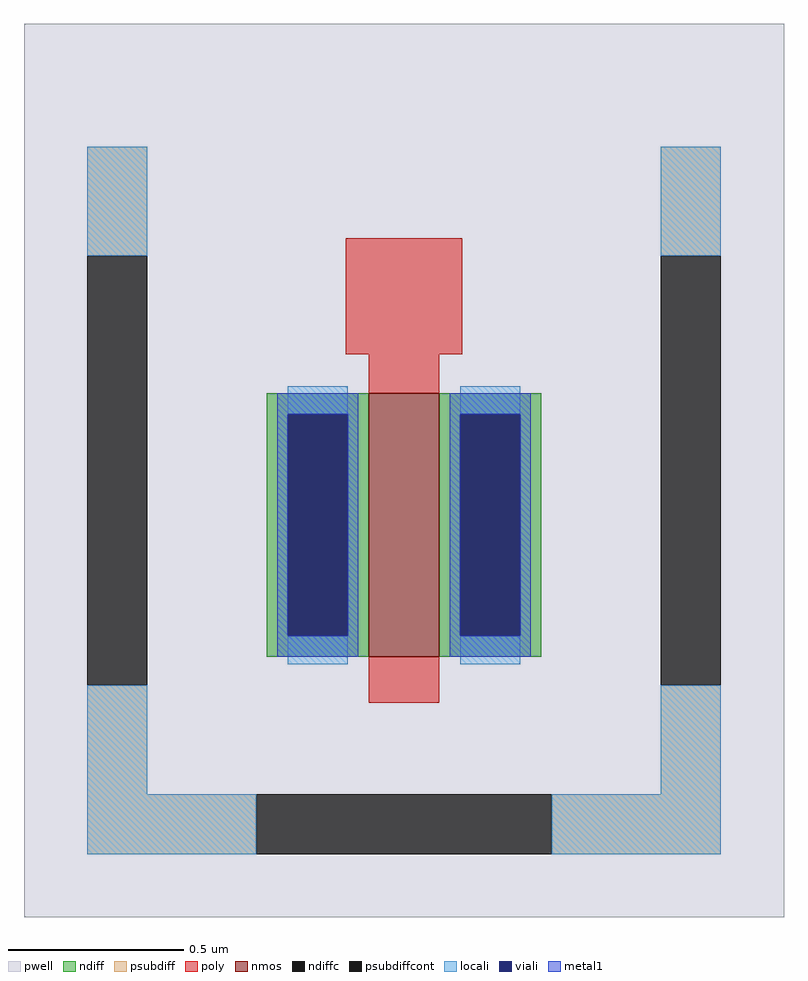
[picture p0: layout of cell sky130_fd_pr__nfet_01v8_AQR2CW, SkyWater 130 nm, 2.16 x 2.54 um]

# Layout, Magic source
magic
tech sky130A
magscale 1 2
<< pwell >>
rect -216 -254 216 254
<< nmos >>
rect -20 -106 20 44
<< ndiff >>
rect -78 32 -20 44
rect -78 -94 -66 32
rect -32 -94 -20 32
rect -78 -106 -20 -94
rect 20 32 78 44
rect 20 -94 32 32
rect 66 -94 78 32
rect 20 -106 78 -94
<< ndiffc >>
rect -66 -94 -32 32
rect 32 -94 66 32
<< psubdiff >>
rect -180 122 -146 184
rect 146 122 180 184
rect -180 -184 -146 -122
rect 146 -184 180 -122
rect -180 -218 -84 -184
rect 84 -218 180 -184
<< psubdiffcont >>
rect -180 -122 -146 122
rect 146 -122 180 122
rect -84 -218 84 -184
<< poly >>
rect -33 66 33 132
rect -20 44 20 66
rect -20 -132 20 -106
<< locali >>
rect -180 122 -146 184
rect 146 122 180 184
rect -66 32 -32 48
rect -66 -110 -32 -94
rect 32 32 66 48
rect 32 -110 66 -94
rect -180 -184 -146 -122
rect 146 -184 180 -122
rect -180 -218 -84 -184
rect 84 -218 180 -184
<< viali >>
rect -66 -94 -32 32
rect 32 -94 66 32
<< metal1 >>
rect -72 32 -26 44
rect -72 -94 -66 32
rect -32 -94 -26 32
rect -72 -106 -26 -94
rect 26 32 72 44
rect 26 -94 32 32
rect 66 -94 72 32
rect 26 -106 72 -94
<< properties >>
string gencell sky130_fd_pr__nfet_01v8
string FIXED_BBOX -163 -201 163 201
string parameters w 0.75 l 0.2 m 1 nf 1 diffcov 100 polycov 100 guard 1 glc 1 grc 1 gtc 0 gbc 1 tbcov 100 rlcov 100 topc 1 botc 0 poverlap 0 doverlap 1 lmin 0.15 wmin 0.42 compatible {sky130_fd_pr__nfet_01v8 sky130_fd_pr__nfet_01v8_lvt  sky130_fd_bs_flash__special_sonosfet_star  sky130_fd_pr__nfet_g5v0d10v5 sky130_fd_pr__nfet_05v0_nvt  sky130_fd_pr__nfet_03v3_nvt} full_metal 1 viasrc 100 viadrn 100 viagate 100 viagb 0 viagr 0 viagl 0 viagt 0
string library sky130
<< end >>
